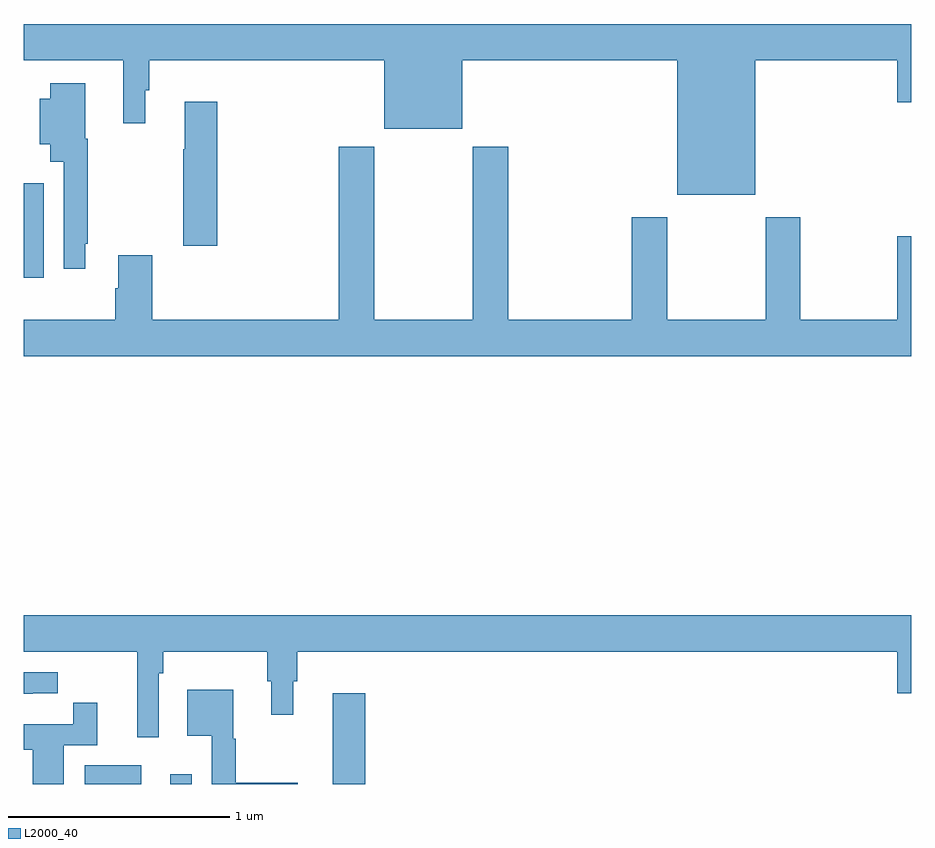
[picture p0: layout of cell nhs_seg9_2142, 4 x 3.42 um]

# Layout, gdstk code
import gdstk
lib = gdstk.Library(unit=1e-6, precision=1e-09)
def R(c, l, rs):  # rectangles x0, y0, x1, y1
    for r in rs: c.add(gdstk.rectangle(r[:2], r[2:], *l))
def P(c, l, *ps):  # polygons
    for p in ps: c.add(gdstk.Polygon(p, *l))
L2000_40 = (2000, 40)

nhs_seg9_2142 = lib.new_cell('nhs_seg9_2142')
R(nhs_seg9_2142, L2000_40, [(233.276,1186.5,233.53,1186.585), (233.66,1186.5,233.757,1186.543), (234.392,1186.5,234.539,1186.909), (233,1188.78,233.091,1189.207)])
P(nhs_seg9_2142, L2000_40, [(236.296,1189.76),(236.936,1189.76),(236.936,1189.572),(237,1189.572),(237,1189.924),(233,1189.924),(233,1189.76),(233.45,1189.76),(233.45,1189.476),(233.548,1189.476),(233.548,1189.626),(233.567,1189.626),(233.567,1189.76),(234.626,1189.76),(234.626,1189.451),(234.976,1189.451),(234.976,1189.76),(235.946,1189.76),(235.946,1189.154),(236.296,1189.154)],
  [(233.278,1188.934),(233.29,1188.934),(233.29,1189.408),(233.278,1189.408),(233.278,1189.657),(233.12,1189.657),(233.12,1189.588),(233.072,1189.588),(233.072,1189.382),(233.12,1189.382),(233.12,1189.304),(233.181,1189.304),(233.181,1188.822),(233.278,1188.822)],
  [(233.873,1189.573),(233.726,1189.573),(233.726,1189.36),(233.719,1189.36),(233.719,1188.924),(233.873,1188.924)],
  [(237,1188.967),(236.936,1188.967),(236.936,1188.592),(236.499,1188.592),(236.499,1189.054),(236.344,1189.054),(236.344,1188.592),(235.899,1188.592),(235.899,1189.054),(235.739,1189.054),(235.739,1188.592),(235.184,1188.592),(235.184,1189.372),(235.024,1189.372),(235.024,1188.592),(234.579,1188.592),(234.579,1189.372),(234.419,1189.372),(234.419,1188.592),(233.579,1188.592),(233.579,1188.883),(233.426,1188.883),(233.426,1188.734),(233.414,1188.734),(233.414,1188.592),(233,1188.592),(233,1188.428),(237,1188.428)],
  [(233.61,1187),(233.63,1187),(233.63,1187.096),(234.097,1187.096),(234.097,1186.962),(234.116,1186.962),(234.116,1186.812),(234.214,1186.812),(234.214,1186.962),(234.233,1186.962),(234.233,1187.096),(236.936,1187.096),(236.936,1186.908),(237,1186.908),(237,1187.26),(233,1187.26),(233,1187.096),(233.513,1187.096),(233.513,1186.71),(233.61,1186.71)],
  [(233.042,1186.908),(233.155,1186.908),(233.155,1187.004),(233,1187.004),(233,1186.907),(233.042,1186.907)],
  [(234.235,1186.505),(233.956,1186.505),(233.956,1186.704),(233.944,1186.704),(233.944,1186.924),(233.738,1186.924),(233.738,1186.718),(233.847,1186.718),(233.847,1186.5),(234.235,1186.5)],
  [(233.182,1186.674),(233.333,1186.674),(233.333,1186.867),(233.224,1186.867),(233.224,1186.77),(233,1186.77),(233,1186.654),(233.042,1186.654),(233.042,1186.5),(233.182,1186.5)])

lib.write_gds('nhs_seg9_2142.gds')
